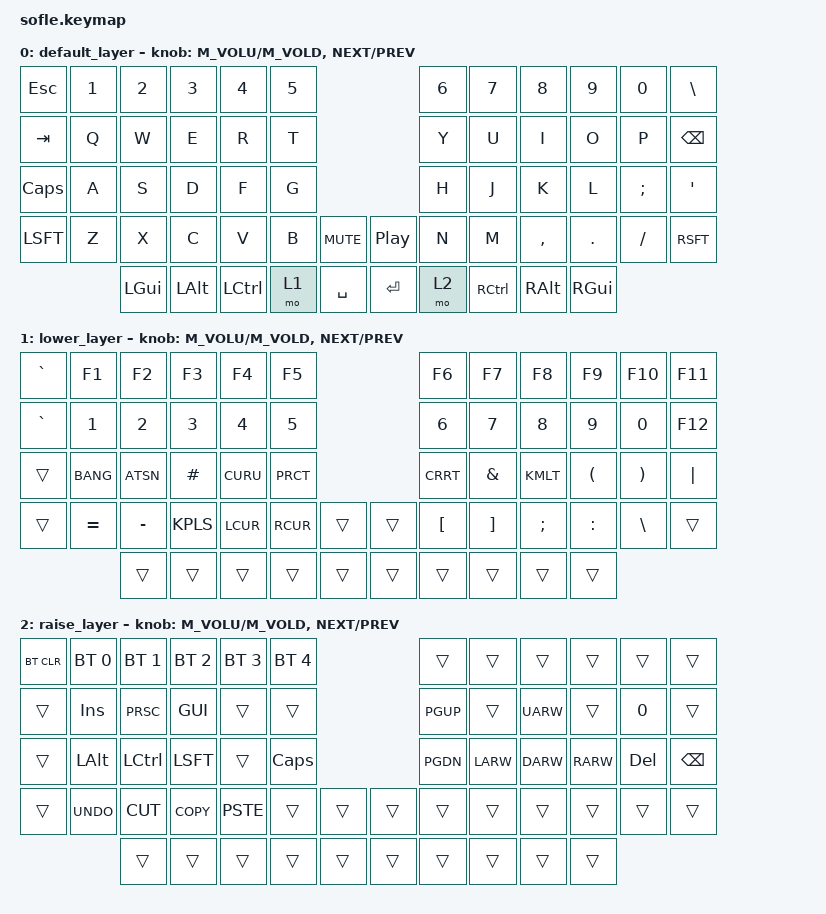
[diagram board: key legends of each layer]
/*
 * Copyright (c) 2020 The ZMK Contributors
 *
 * SPDX-License-Identifier: MIT
 */

#include <behaviors.dtsi>
#include <dt-bindings/zmk/keys.h>
#include <dt-bindings/zmk/bt.h>

/ {
    keymap {
        compatible = "zmk,keymap";

        default_layer {
// ------------------------------------------------------------------------------------------------------------
// |  `    |  1  |  2  |  3   |  4   |  5   |                   |  6   |  7    |  8    |  9   |   0   |       |
// |  ESC  |  Q  |  W  |  E   |  R   |  T   |                   |  Y   |  U    |  I    |  O   |   P   | BKSPC |
// |  TAB  |  A  |  S  |  D   |  F   |  G   |                   |  H   |  J    |  K    |  L   |   ;   |   '   |
// | SHIFT |  Z  |  X  |  C   |  V   |  B   |  MUTE  |  |       |  N   |  M    |  ,    |  .   |   /   | SHIFT |
//               | GUI | ALT  | CTRL | LOWER|  ENTER |  | SPACE | RAISE| CTRL  | ALT   | GUI  |
            bindings = <
&kp ESC  &kp NUM_1 &kp NUM_2 &kp NUM_3 &kp NUM_4 &kp NUM_5                  &kp NUM_6 &kp NUM_7 &kp NUM_8 &kp NUM_9 &kp NUM_0 &kp BSLH
&kp TAB   &kp Q     &kp W     &kp E     &kp R     &kp T                      &kp Y     &kp U     &kp I     &kp O     &kp P     &kp BKSP
&kp CAPS   &kp A     &kp S     &kp D     &kp F     &kp G                      &kp H     &kp J     &kp K     &kp L     &kp SCLN  &kp QUOT
&kp LSFT  &kp Z     &kp X     &kp C     &kp V     &kp B  &kp C_MUTE &kp C_PP  &kp N     &kp M     &kp CMMA  &kp DOT   &kp FSLH  &kp RSFT
                    &kp LGUI  &kp LALT  &kp LCTL  &mo 1  &kp SPC    &kp RET  &mo 2     &kp RCTL  &kp RALT  &kp RGUI
            >;

            sensor-bindings = <&inc_dec_kp M_VOLU M_VOLD &inc_dec_kp C_NEXT C_PREV>;
        };

        lower_layer {
// TODO: Some binds are waiting for shifted keycode support.
// ------------------------------------------------------------------------------------------------------------
// |       |  F1 |  F2 |  F3  |  F4  |  F5  |                   |  F6  |  F7   |  F8   |  F9  |  F10  |  F11  |
// | `     |   1 |   2 |   3  |   4  |   5  |                   |   6  |   7   |   8   |   9  |    0  |  F12  |
// |       |  !  |  @  |  #   |  $   |  %   |                   |  ^   |  &    |  *    |  (   |   )   |   |   |
// |       |  =  |  -  |  +   |  {   |  }   |        |  |       |  [   |  ]    |  ;    |  :   |   \   |       |
//               |     |      |      |      |        |  |       |      |       |       |      |
            bindings = <
&kp GRAV   &kp F1    &kp F2    &kp F3    &kp F4    &kp F5                   &kp F6    &kp F7    &kp F8    &kp F9    &kp F10   &kp F11
&kp GRAV &kp NUM_1 &kp NUM_2 &kp NUM_3 &kp NUM_4 &kp NUM_5                &kp NUM_6 &kp NUM_7 &kp NUM_8 &kp NUM_9 &kp NUM_0 &kp F12
&trans   &kp BANG  &kp ATSN  &kp HASH  &kp CURU  &kp PRCT                 &kp CRRT  &kp AMPS  &kp KMLT  &kp LPRN  &kp RPRN  &kp PIPE
&trans   &kp EQL   &kp MINUS &kp KPLS  &kp LCUR  &kp RCUR &trans   &trans &kp LBKT  &kp RBKT  &kp SCLN  &kp COLN  &kp BSLH  &trans
                   &trans    &trans    &trans    &trans   &trans   &trans &trans    &trans    &trans    &trans
            >;

            sensor-bindings = <&inc_dec_kp M_VOLU M_VOLD &inc_dec_kp C_NEXT C_PREV>;
        };

        raise_layer {
// ------------------------------------------------------------------------------------------------------------
// |BTCLR| BT1  | BT2  |  BT3  |  BT4  |  BT5 |                |      |      |       |      |       |       |
// |     | INS  | PSCR | GUI   |       |      |                | PGUP |      |   ^   |      |       |       |
// |     | ALT  | CTRL | SHIFT |       | CAPS |                | PGDN |   <- |   v   |  ->  |  DEL  | BKSPC |
// |     | UNDO | CUT  | COPY  | PASTE |      |      |  |      |      |      |       |      |       |       |
//              |      |       |       |      |      |  |      |      |      |       |      |
            bindings = <
&bt BT_CLR &bt BT_SEL 0 &bt BT_SEL 1 &bt BT_SEL 2 &bt BT_SEL 3 &bt BT_SEL 4             &trans   &trans    &trans   &trans   &trans    &trans
&trans     &kp INS      &kp PRSC     &kp GUI      &trans       &trans                   &kp PGUP &trans    &kp UARW &trans   &kp NUM_0 &trans
&trans     &kp LALT     &kp LCTL     &kp LSFT     &trans       &kp CLCK                 &kp PGDN &kp LARW  &kp DARW &kp RARW &kp DEL   &kp BKSP
&trans     &kp UNDO     &kp CUT      &kp COPY     &kp PSTE     &trans  &trans   &trans  &trans   &trans    &trans   &trans   &trans    &trans
                        &trans       &trans       &trans       &trans  &trans   &trans  &trans   &trans    &trans   &trans
            >;

            sensor-bindings = <&inc_dec_kp M_VOLU M_VOLD &inc_dec_kp C_NEXT C_PREV>;
        };
    };
};
